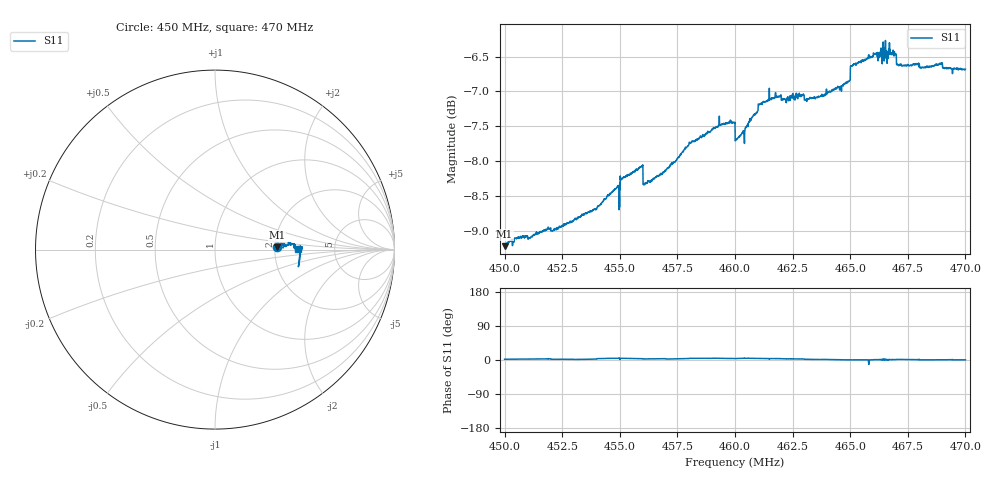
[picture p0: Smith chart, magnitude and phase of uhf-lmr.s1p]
! Calibrated averaged scanner-service zoom
# Hz S RI R 50
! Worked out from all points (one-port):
!   2001 points, 450 MHz to 470 MHz, reference 50 ohm
!   lowest |S11| = -9.2 dB at 450 MHz (marker M1), VSWR 2.06, Z = 103 + j2.74 ohm
!   |S11| at or under -10 dB: nowhere
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4.5e8  0.3458 0.0117
4.519e8  0.3564 0.0185
4.525e8  0.3579 0.012
4.5361e8  0.3657 0.0128
4.5411e8  0.369 0.0245
4.55e8  0.3832 0.0289
4.559e8  0.3936 0.0241
4.5611e8  0.3831 0.0187
4.575e8  0.3993 0.0224
4.5811e8  0.4097 0.0313
4.5937e8  0.4215 0.0331
4.599e8  0.4235 0.0276
4.6e8  0.4236 0.0265
4.6032e8  0.4155 0.0317
4.6111e8  0.4365 0.0287
4.625e8  0.4436 0.0231
4.6384e8  0.4432 0.0105
4.65e8  0.4552 0.00255
4.6511e8  0.4662 0.00249
4.6568e8  0.4708 0.00359
4.6573e8  0.4713 0.00367
4.6589e8  0.4728 0.00398
4.6594e8  0.4731 0.00313
4.6611e8  0.4752 0.00784
4.6679e8  0.4754 0.00898
4.6711e8  0.4659 0.0116
4.675e8  0.4669 0.0099
4.7e8  0.4633 0.00269
